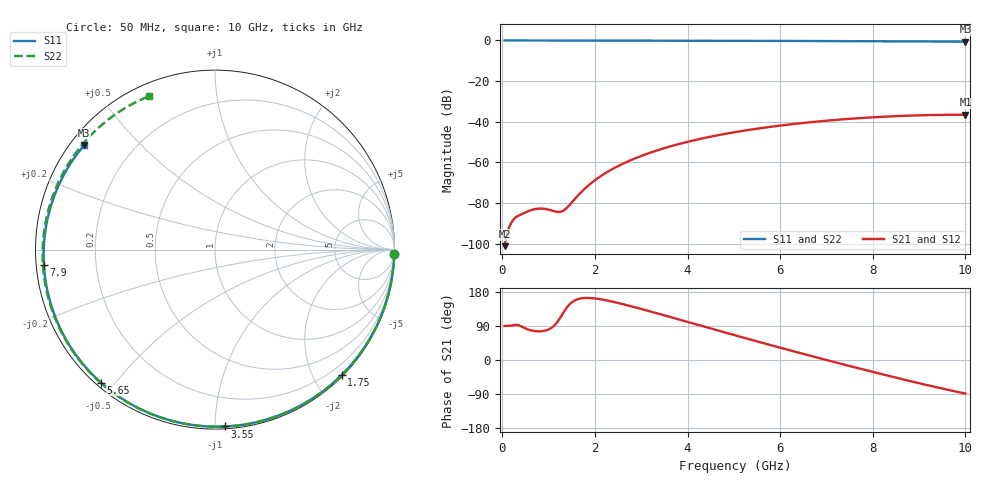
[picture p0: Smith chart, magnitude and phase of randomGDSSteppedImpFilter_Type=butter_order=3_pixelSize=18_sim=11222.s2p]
! freq	dB(S11)	phase(S11)	dB(S12)	phase(S12)
!  dB(S21)	phase(S21)	dB(S22)	phase(S22)
!S-par simulation data
#  GHz  S  DB  R 50
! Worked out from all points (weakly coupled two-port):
!   200 points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, 50 MHz to 10 GHz, reference 50 ohm
!   highest |S21| = -36.52 dB at 10 GHz (marker M1); lowest = -101.2 dB at 50 MHz (marker M2)
!   lowest |S11| = -0.6 dB at 10 GHz (marker M3), VSWR 28.73, Z = 1.95 + j17.5 ohm
!   |S11| at or under -10 dB: nowhere
!   |S22| runs from -0.6 to 0.0 dB; largest |S21 - S12| = 0
!   S11 on the Smith chart (normalised r, x): 50 MHz: 2, -91; 1.75 GHz: 0.02, -2.43; 3.55 GHz: 0.01, -1.06; 5.65 GHz: 0.01, -0.46; 7.9 GHz: 0.02, -0.05; 10 GHz: 0.04, +0.35
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0.05  -0.00 -1.3  -101.17 89.9  -101.17 89.9  -0.00 -1.4
0.7  -0.02 -18.2  -82.96 76.5  -82.96 76.5  -0.03 -20.1
1.05  -0.03 -27.2  -83.51 83.9  -83.51 83.9  -0.04 -30.0
1.45  -0.05 -37.3  -80.97 146.6  -80.97 146.6  -0.05 -41.1
1.5  -0.05 -38.5  -79.68 152.1  -79.68 152.1  -0.05 -42.5
1.75  -0.06 -44.8  -73.55 163.5  -73.55 163.5  -0.06 -49.3
2.05  -0.07 -52.1  -67.92 161.7  -67.92 161.7  -0.07 -57.4
2.45  -0.08 -61.7  -62.37 152.0  -62.37 152.0  -0.09 -67.9
2.9  -0.09 -72.2  -57.69 138.0  -57.69 138.0  -0.10 -79.4
3.4  -0.11 -83.5  -53.65 121.2  -53.65 121.2  -0.12 -91.7
3.55  -0.11 -86.9  -52.61 116.1  -52.61 116.1  -0.12 -95.3
4.25  -0.14 -102.0  -48.52 91.9  -48.52 91.9  -0.15 -111.8
5.05  -0.18 -118.6  -44.99 64.4  -44.99 64.4  -0.19 -129.9
5.65  -0.21 -130.6  -42.91 44.1  -42.91 44.1  -0.23 -143.2
6.2  -0.24 -141.5  -41.32 25.9  -41.32 25.9  -0.26 -155.2
6.7  -0.28 -151.2  -40.10 9.6  -40.10 9.6  -0.30 -166.2
7.3  -0.33 -162.9  -38.89 -9.5  -38.89 -9.5  -0.35 -179.6
7.9  -0.38 -174.7  -37.93 -28.3  -37.93 -28.3  -0.41 166.7
8.35  -0.43 176.3  -37.37 -42.1  -37.37 -42.1  -0.45 156.1
9.15  -0.51 159.8  -36.74 -65.6  -36.74 -65.6  -0.53 136.2
9.6  -0.56 150.2  -36.57 -78.0  -36.57 -78.0  -0.58 124.4
10  -0.60 141.3  -36.52 -88.5  -36.52 -88.5  -0.63 113.4
